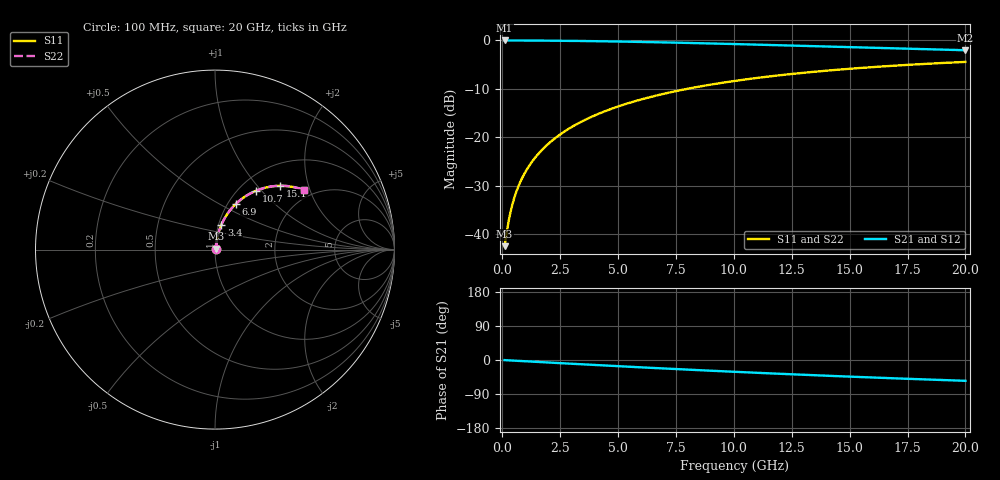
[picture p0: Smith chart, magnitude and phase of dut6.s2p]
! Touchstone file exported from HFSS 2026.1.0
!  File:  C:/ffzhzh/LocalFiles/Ansys_Project_Files/temp_val_TMRDL_6_1782902650_46784.aedt
!  Generated:  06:45:51 PM Jul  1, 2026
!  Design:  TMRDL
!  Project:  temp_val_TMRDL_6_1782902650_46784
! Variables:
!  h_bsmrdl = 2um
!  h_ox = 20um
!  h_rdl = 5um
!  h_sub = 80um
!  h_tmrdl = 3.51um
!  h_tsv = 80um
!  h_via = 3um
!  l_bsmrdl = 300um
!  l_sub = 1154.91um
!  l_tmrdl = 754.91um
!  m_sub = 200um
!  pitch = 54.53um
!  r_tsv = 6um
!  s_tmrdl = 10um
!  w_bsmrdl = 18um
!  w_sub = 500um
!  w_tmrdl = 12.67um
!  x_tsv_center1 = 761.245um
!  x_tsv_center2 = 1079.245um
!  x_tsv_center3 = 1846.825um
!  x_tsv_center4 = 2164.825um
!  x_tsv_center5 = 2932.405um
!  x_tsv_center6 = 3250.405um
# GHz S MA R 50.000000
! Terminal data exported
! Port[1] = TM_RDL1_1_T1
! Port[2] = TM_RDL1_1_T2
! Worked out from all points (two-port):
!   200 points, 100 MHz to 20 GHz, reference 50 ohm
!   highest |S21| = -0.05 dB at 100 MHz (marker M1); lowest = -2.1 dB at 20 GHz (marker M2)
!   |S21| within 3 dB of the highest: start of sweep to end of sweep
!   lowest |S11| = -42.5 dB at 100 MHz (marker M3), VSWR 1.02, Z = 50.6 + j0.447 ohm
!   |S11| at or under -10 dB: start of sweep to 8.027 GHz
!   |S22| runs from -42.5 to -4.5 dB; largest |S21 - S12| = 2.5e-15
!   S11 on the Smith chart (normalised r, x): 100 MHz: 1.01, +0.01; 3.4 GHz: 1.03, +0.29; 6.9 GHz: 1.09, +0.60; 10.7 GHz: 1.20, +0.93; 15.1 GHz: 1.40, +1.34; 20 GHz: 1.78, +1.83
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0.1  0.007489 36.1  0.994 -0.3  0.994 -0.3  0.007488 36.1
! Gamma 0 0 0 0
! Port Impedance 50 0 50 0
0.2  0.01077 54.9  0.9939 -0.7  0.9939 -0.7  0.01077 54.9
0.3  0.01465 64.0  0.9937 -1.0  0.9937 -1.0  0.01465 64.0
0.4  0.01872 68.9  0.9935 -1.4  0.9935 -1.4  0.01872 68.9
0.5  0.02287 72.0  0.9933 -1.7  0.9933 -1.7  0.02287 72.0
0.6  0.02705 74.0  0.9931 -2.0  0.9931 -2.0  0.02704 74.0
0.8  0.03542 76.4  0.9927 -2.7  0.9927 -2.7  0.03542 76.4
1.1  0.04801 78.0  0.992 -3.7  0.992 -3.7  0.04801 78.0
1.5  0.06481 78.6  0.9908 -5.0  0.9908 -5.0  0.0648 78.7
2  0.08575 78.4  0.989 -6.6  0.989 -6.6  0.08575 78.4
2.6  0.1107 77.4  0.9862 -8.6  0.9862 -8.6  0.1107 77.4
3.4  0.1435 75.5  0.9816 -11.2  0.9816 -11.2  0.1435 75.6
3.5  0.1476 75.3  0.9809 -11.5  0.9809 -11.5  0.1476 75.3
5  0.207 71.1  0.9692 -16.3  0.9692 -16.3  0.2069 71.2
6.8  0.2738 65.9  0.9514 -21.8  0.9514 -21.8  0.2738 66.0
6.9  0.2773 65.7  0.9503 -22.1  0.9503 -22.1  0.2773 65.7
10.1  0.3818 56.7  0.9118 -31.4  0.9118 -31.4  0.3818 56.8
10.7  0.3994 55.1  0.904 -33.0  0.904 -33.0  0.3994 55.2
13.4  0.4706 48.3  0.8686 -40.0  0.8686 -40.0  0.4706 48.4
15.1  0.5093 44.2  0.8465 -44.1  0.8465 -44.1  0.5093 44.3
16.7  0.5416 40.6  0.8264 -47.8  0.8264 -47.8  0.5416 40.7
20  0.5971 33.6  0.7879 -54.9  0.7879 -54.9  0.597 33.8
